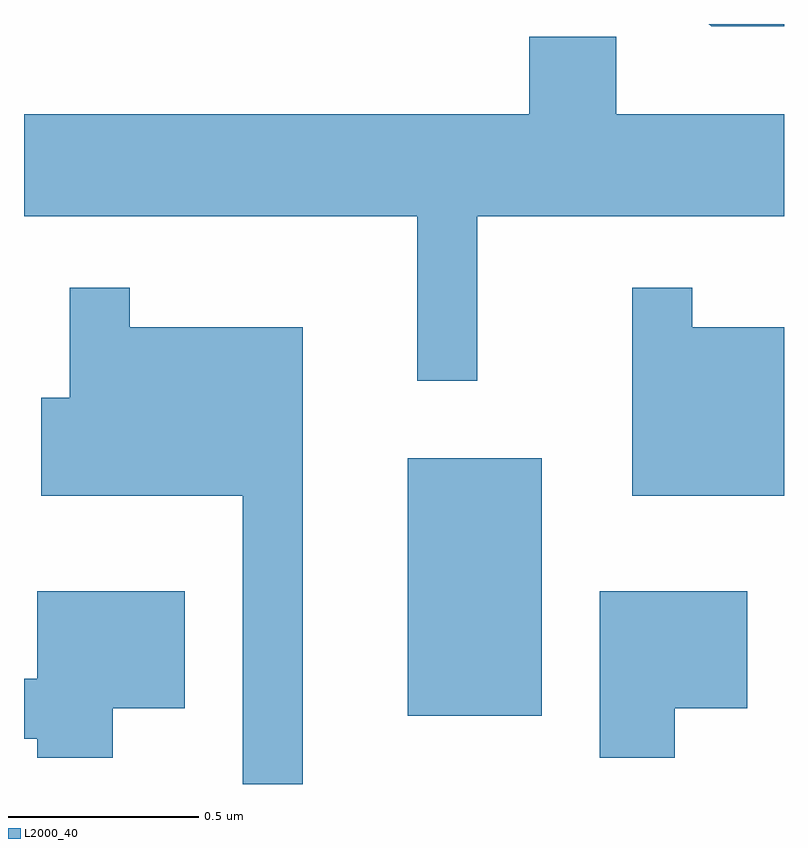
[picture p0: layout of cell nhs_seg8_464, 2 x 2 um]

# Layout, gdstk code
import gdstk
lib = gdstk.Library(unit=1e-6, precision=1e-09)
def R(c, l, rs):  # rectangles x0, y0, x1, y1
    for r in rs: c.add(gdstk.rectangle(r[:2], r[2:], *l))
def P(c, l, *ps):  # polygons
    for p in ps: c.add(gdstk.Polygon(p, *l))
L2000_40 = (2000, 40)

nhs_seg8_464 = lib.new_cell('nhs_seg8_464')
R(nhs_seg8_464, L2000_40, [(189.621,1859.521,189.974,1860.199)])
P(nhs_seg8_464, L2000_40, [(190.611,1861.342),(190.413,1861.342),(190.419,1861.336),(190.611,1861.336)],
  [(189.804,1860.836),(190.611,1860.836),(190.611,1861.104),(190.169,1861.104),(190.169,1861.309),(189.941,1861.309),(189.941,1861.104),(188.611,1861.104),(188.611,1860.836),(189.646,1860.836),(189.646,1860.403),(189.804,1860.403)],
  [(190.611,1860.544),(190.369,1860.544),(190.369,1860.648),(190.211,1860.648),(190.211,1860.101),(190.611,1860.101)],
  [(189.344,1860.544),(188.889,1860.544),(188.889,1860.648),(188.731,1860.648),(188.731,1860.359),(188.656,1860.359),(188.656,1860.101),(189.186,1860.101),(189.186,1859.342),(189.344,1859.342)],
  [(190.324,1859.541),(190.514,1859.541),(190.514,1859.849),(190.126,1859.849),(190.126,1859.411),(190.324,1859.411)],
  [(188.844,1859.541),(189.034,1859.541),(189.034,1859.849),(188.646,1859.849),(188.646,1859.619),(188.611,1859.619),(188.611,1859.461),(188.646,1859.461),(188.646,1859.411),(188.844,1859.411)])

lib.write_gds('nhs_seg8_464.gds')
